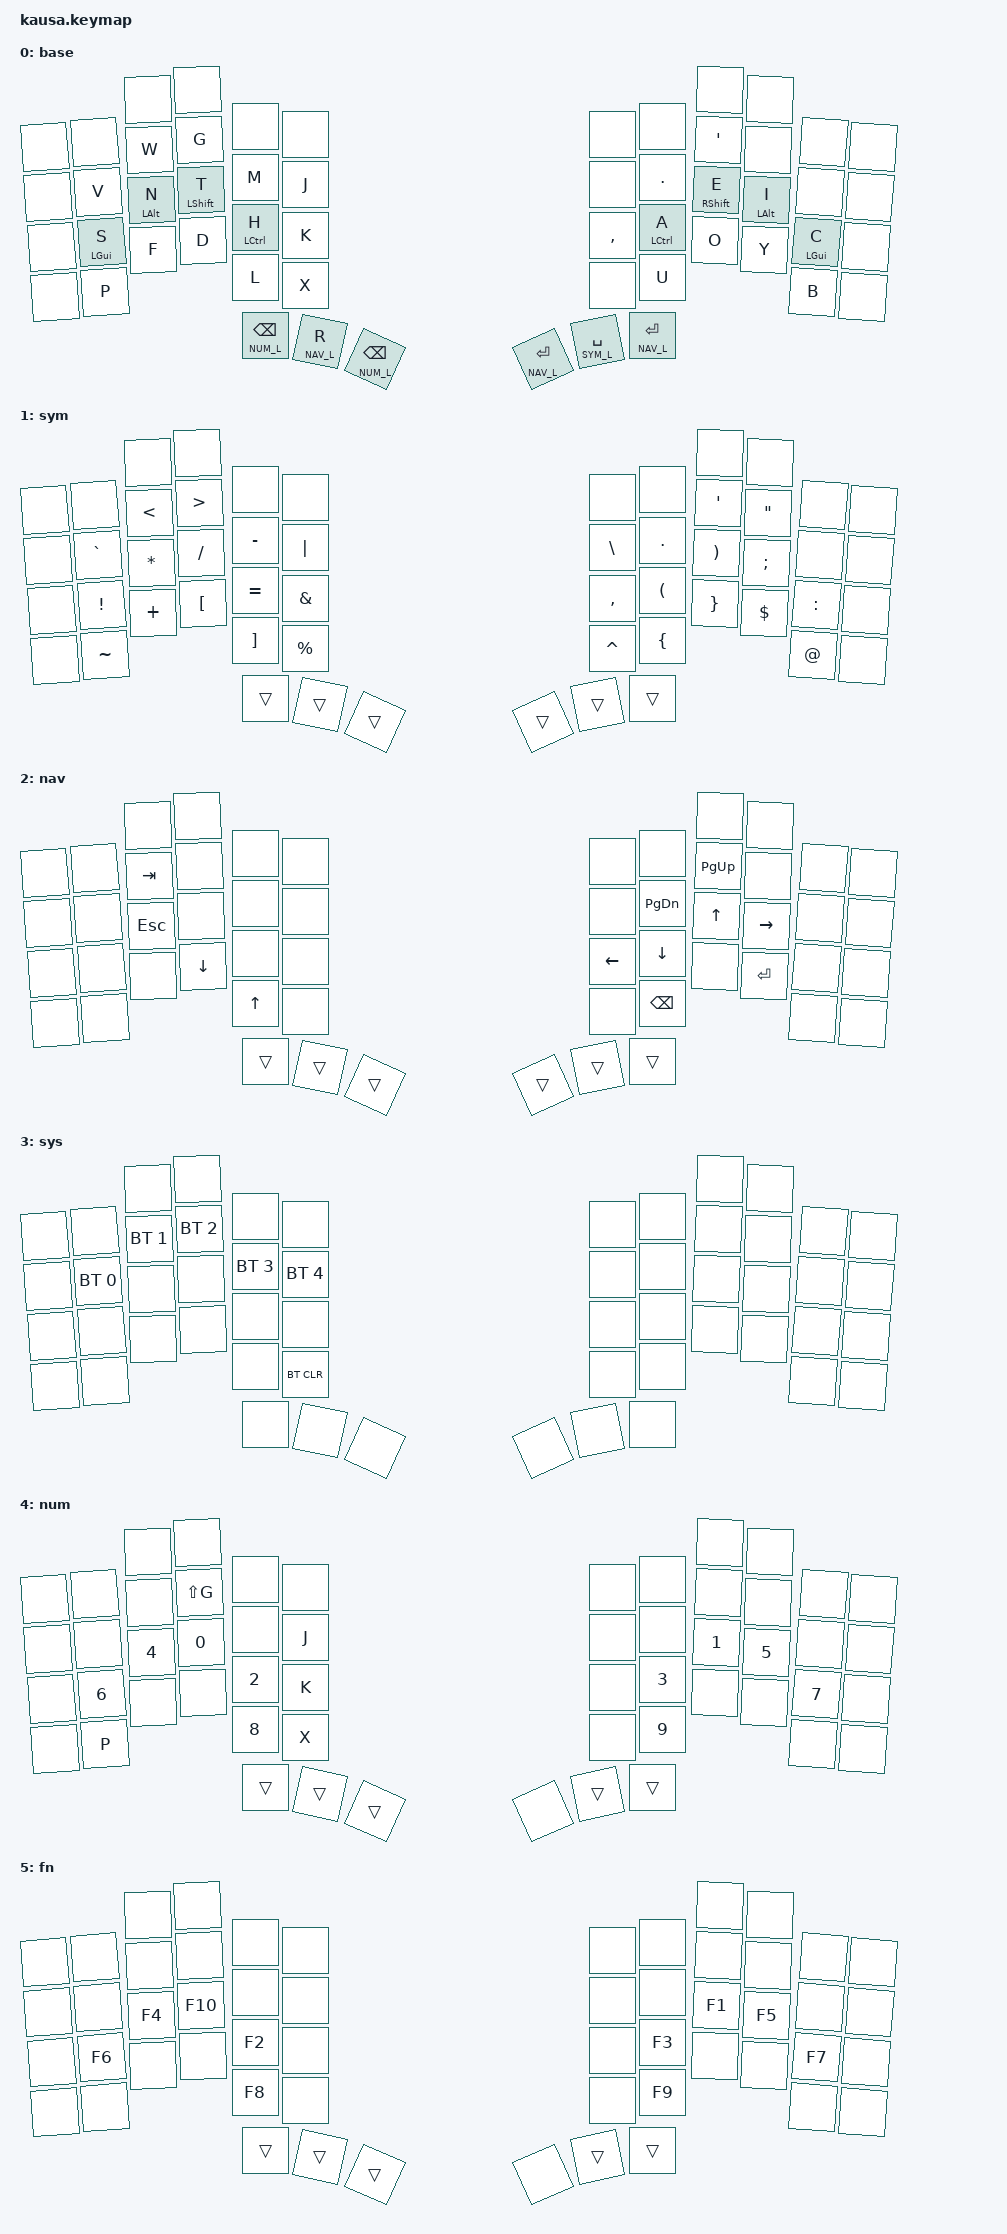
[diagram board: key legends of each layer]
#include <behaviors.dtsi>
#include <zmk-helpers/helper.h>
#include <zmk-helpers/key-labels/54.h>
#include <behaviors/num_word.dtsi>
#include <dt-bindings/zmk/keys.h>
#include <dt-bindings/zmk/bt.h>

#define BASE_L 0
#define SYM_L 1
#define NAV_L 2
#define SYS_L 3
#define NUM_L 4
#define FN_L 5

/* #define MAGIC_SHIFT &magic_shift LSHFT 0 */
/* ZMK_HOLD_TAP(magic_shift, bindings = <&kp>, <&magic_shift_tap>; */
/*              flavor = "balanced"; tapping-term-ms = <200>; */
/*              quick-tap-ms = <175>;) */
/* ZMK_MOD_MORPH(magic_shift_tap, bindings = <&shift_repeat>, <&caps_word>; */
/*               mods = <(MOD_LSFT)>;) */
/* ZMK_ADAPTIVE_KEY( */
/*     shift_repeat, bindings = <&sk LSHFT>; */
/*     repeat { */
/*       trigger-keys = <A B C D E F G H I J K L M N O P Q R S T U V W X Y Z>; */
/*       bindings = <&key_repeat>; */
/*       max-prior-idle-ms = <1200>; */
/*       strict-modifiers; */
/*     };) */

ZMK_MACRO(qu, bindings = <&macro_tap &kp Q &kp U>;)
ZMK_COMBO(combo_z, &kp Z, LT3 LT2, BASE_L)
ZMK_COMBO(combo_q, &kp Q, LT2 LT1, BASE_L)
ZMK_COMBO(combo_qu, &qu, LT3 LT1, BASE_L)
ZMK_COMBO(combo_ltab, &kp TAB, LM3 LM1, BASE_L)
ZMK_COMBO(combo_num, &num_word NUM_L, LH1 RH1, BASE_L)
ZMK_COMBO(combo_fn, &mo FN_L, LH2 RH2, BASE_L)
ZMK_COMBO(combo_middle_shift, &sk LSHFT, LM2 RM2, BASE_L)
//ZMK_COMBO(combo_lalt, &kp LALT, LM4 LM3, BASE_L)
//ZMK_COMBO(combo_lctrl, &kp LCTRL, LM3 LM2, BASE_L)
//ZMK_COMBO(combo_lgui, &kp LGUI, LM2 LM1, BASE_L)
//ZMK_COMBO(combo_ralt, &kp RALT, RM4 RM3, BASE_L)
//ZMK_COMBO(combo_rctrl, &kp RCTRL, RM3 RM2, BASE_L)
//ZMK_COMBO(combo_rgui, &kp RGUI, RM2 RM1, BASE_L)

#define SHIFT_BSPC &hpmt LSHFT BSPC
ZMK_HOLD_TAP(hpmt, flavor = "hold-preferred";
            hold-while-undecided;
            tapping-term-ms = <300>;
            quick-tap-ms = <175>;
            bindings = <&kp>, <&kp>;
	)
ZMK_HOLD_TAP(bmt, flavor = "balanced";
            hold-while-undecided;
            tapping-term-ms = <300>;
            quick-tap-ms = <250>;
            bindings = <&kp>, <&kp>;
	)

/* Left-hand HRMs. */
ZMK_HOLD_TAP(hml,
    flavor = "balanced";
    tapping-term-ms = <280>;
    quick-tap-ms = <175>;
    require-prior-idle-ms = <150>;
    bindings = <&kp>, <&kp>;
    hold-trigger-key-positions = <KEYS_R THUMBS>;
    hold-trigger-on-release;
)

/* Right-hand HRMs. */
ZMK_HOLD_TAP(hmr,
    flavor = "balanced";
    tapping-term-ms = <280>;
    quick-tap-ms = <175>;
    require-prior-idle-ms = <150>;
    bindings = <&kp>, <&kp>;
    hold-trigger-key-positions = <KEYS_L THUMBS>;
    hold-trigger-on-release;
)

#define NUM_BSPC &lt NUM_L BSPC
#define SYM_SPACE &lt SYM_L SPACE
#define NAV_RETURN &lt NAV_L RETURN

// For SHIFT, try:
// * L-R Index Combo, One shot
// * HOME thumbs Combo, One shot

ZMK_LAYER(base,
     // ╭─────────────┬─────────────┬─────────────┬─────────────┬─────────────┬─────────────╮   ╭─────────────┬─────────────┬─────────────┬─────────────┬─────────────┬─────────────╮
          &none         &none         &none         &none         &none         &none             &none         &none         &none         &none         &none         &none
     // ├─────────────┼─────────────┼─────────────┼─────────────┼─────────────┼─────────────┤   ├─────────────┼─────────────┼─────────────┼─────────────┼─────────────┼─────────────┤
          &none         &kp V         &kp W         &kp G         &kp M         &kp J             &none         &kp PERIOD    &kp SQT       &none         &none         &none
     // ├─────────────┼─────────────┼─────────────┼─────────────┼─────────────┼─────────────┤   ├─────────────┼─────────────┼─────────────┼─────────────┼─────────────┼─────────────┤
          &none         &hml LGUI S   &hml LALT N  &hml LSHFT T   &hml LCTRL H  &kp K             &kp COMMA     &hmr LCTRL A  &hmr RSHFT E  &hmr LALT I   &hmr LGUI C   &none
     // ├─────────────┼─────────────┼─────────────┼─────────────┼─────────────┼─────────────┤   ├─────────────┼─────────────┼─────────────┼─────────────┼─────────────┼─────────────┤
          &none         &kp P         &kp F         &kp D         &kp L         &kp X             &none         &kp U         &kp O         &kp Y         &kp B         &none
     // ╰─────────────┴─────────────┴─────────────┼─────────────┼─────────────┼─────────────┤   ├─────────────┼─────────────┼─────────────┼─────────────┴─────────────┴─────────────╯
                                                    NUM_BSPC      &lt NAV_L R   NUM_BSPC          NAV_RETURN    SYM_SPACE     NAV_RETURN
     //                                           ╰─────────────┴─────────────┴─────────────╯   ╰─────────────┴─────────────┴─────────────╯
)

ZMK_LAYER(sym,
     // ╭─────────────┬─────────────┬─────────────┬─────────────┬─────────────┬─────────────╮   ╭─────────────┬─────────────┬─────────────┬─────────────┬─────────────┬─────────────╮
          &none         &none         &none         &none         &none         &none             &none         &none         &none         &none         &none         &none
     // ├─────────────┼─────────────┼─────────────┼─────────────┼─────────────┼─────────────┤   ├─────────────┼─────────────┼─────────────┼─────────────┼─────────────┼─────────────┤
          &none         &kp GRAVE     &kp LT        &kp GT        &kp MINUS     &kp PIPE          &kp BSLH      &kp PERIOD    &kp SQT       &kp DQT       &none         &none
     // ├─────────────┼─────────────┼─────────────┼─────────────┼─────────────┼─────────────┤   ├─────────────┼─────────────┼─────────────┼─────────────┼─────────────┼─────────────┤
          &none         &kp EXCL      &kp STAR      &kp FSLH      &kp EQUAL     &kp AMPS          &kp COMMA     &kp LPAR      &kp RPAR      &kp SEMI      &kp COLON     &none
     // ├─────────────┼─────────────┼─────────────┼─────────────┼─────────────┼─────────────┤   ├─────────────┼─────────────┼─────────────┼─────────────┼─────────────┼─────────────┤
          &none         &kp TILDE     &kp PLUS      &kp LBKT      &kp RBKT      &kp PRCNT         &kp CARET     &kp LBRC      &kp RBRC      &kp DLLR      &kp AT        &none
     // ╰─────────────┴─────────────┴─────────────┼─────────────┼─────────────┼─────────────┤   ├─────────────┼─────────────┼─────────────┼─────────────┴─────────────┴─────────────╯
                                                    &trans        &trans        &trans            &trans        &trans        &trans
     //                                           ╰─────────────┴─────────────┴─────────────╯   ╰─────────────┴─────────────┴─────────────╯
)

ZMK_LAYER(nav,
     // ╭─────────────┬─────────────┬─────────────┬─────────────┬─────────────┬─────────────╮   ╭─────────────┬─────────────┬─────────────┬─────────────┬─────────────┬─────────────╮
          &none         &none         &none         &none         &none         &none             &none         &none         &none         &none         &none         &none
     // ├─────────────┼─────────────┼─────────────┼─────────────┼─────────────┼─────────────┤   ├─────────────┼─────────────┼─────────────┼─────────────┼─────────────┼─────────────┤
          &none         &none         &kp TAB       &none         &none         &none             &none         &kp PG_DN     &kp PG_UP     &none         &none         &none
     // ├─────────────┼─────────────┼─────────────┼─────────────┼─────────────┼─────────────┤   ├─────────────┼─────────────┼─────────────┼─────────────┼─────────────┼─────────────┤
          &none         &none         &kp ESC       &none         &none         &none             &kp LEFT      &kp DOWN      &kp UP        &kp RIGHT     &none         &none
     // ├─────────────┼─────────────┼─────────────┼─────────────┼─────────────┼─────────────┤   ├─────────────┼─────────────┼─────────────┼─────────────┼─────────────┼─────────────┤
          &none         &none         &none         &kp DOWN      &kp UP        &none             &none         &kp BSPC      &none         &kp ENTER     &none         &none
     // ╰─────────────┴─────────────┴─────────────┼─────────────┼─────────────┼─────────────┤   ├─────────────┼─────────────┼─────────────┼─────────────┴─────────────┴─────────────╯
                                                    &trans        &trans        &trans            &trans        &trans        &trans
     //                                           ╰─────────────┴─────────────┴─────────────╯   ╰─────────────┴─────────────┴─────────────╯                           
)

ZMK_LAYER(sys,
     // ╭─────────────┬─────────────┬─────────────┬─────────────┬─────────────┬─────────────╮   ╭─────────────┬─────────────┬─────────────┬─────────────┬─────────────┬─────────────╮
          &none         &none         &none         &none         &none         &none             &none         &none         &none         &none         &none         &none
     // ├─────────────┼─────────────┼─────────────┼─────────────┼─────────────┼─────────────┤   ├─────────────┼─────────────┼─────────────┼─────────────┼─────────────┼─────────────┤
          &none         &bt BT_SEL 0  &bt BT_SEL 1  &bt BT_SEL 2  &bt BT_SEL 3  &bt BT_SEL 4      &none         &none         &none         &none         &none         &none
     // ├─────────────┼─────────────┼─────────────┼─────────────┼─────────────┼─────────────┤   ├─────────────┼─────────────┼─────────────┼─────────────┼─────────────┼─────────────┤
          &none         &none         &none         &none         &none         &none             &none         &none         &none         &none         &none         &none
     // ├─────────────┼─────────────┼─────────────┼─────────────┼─────────────┼─────────────┤   ├─────────────┼─────────────┼─────────────┼─────────────┼─────────────┼─────────────┤
          &none         &none         &none         &none         &none         &bt BT_CLR        &none         &none         &none         &none         &none         &none
     // ╰─────────────┴─────────────┴─────────────┼─────────────┼─────────────┼─────────────┤   ├─────────────┼─────────────┼─────────────┼─────────────┴─────────────┴─────────────╯
                                                    &none         &none         &none             &none         &none         &none
     //                                           ╰─────────────┴─────────────┴─────────────╯   ╰─────────────┴─────────────┴─────────────╯
)

// from T34
// missing:
// + * ! , / _
ZMK_LAYER(num,
     // ╭─────────────┬─────────────┬─────────────┬─────────────┬─────────────┬─────────────╮   ╭─────────────┬─────────────┬─────────────┬─────────────┬─────────────┬─────────────╮
          &none         &none         &none         &none         &none         &none             &none         &none         &none         &none         &none         &none
     // ├─────────────┼─────────────┼─────────────┼─────────────┼─────────────┼─────────────┤   ├─────────────┼─────────────┼─────────────┼─────────────┼─────────────┼─────────────┤
          &none         &none         &none         &kp LS(G)     &none         &kp J             &none         &none         &none         &none         &none         &none
     // ├─────────────┼─────────────┼─────────────┼─────────────┼─────────────┼─────────────┤   ├─────────────┼─────────────┼─────────────┼─────────────┼─────────────┼─────────────┤
          &none         &kp N6        &kp N4        &kp N0        &kp N2        &kp K             &none         &kp N3        &kp N1        &kp N5        &kp N7        &none
     // ├─────────────┼─────────────┼─────────────┼─────────────┼─────────────┼─────────────┤   ├─────────────┼─────────────┼─────────────┼─────────────┼─────────────┼─────────────┤
          &none         &kp P         &none         &none         &kp N8        &kp X             &none         &kp N9        &none         &none         &none         &none
     // ╰─────────────┴─────────────┴─────────────┼─────────────┼─────────────┼─────────────┤   ├─────────────┼─────────────┼─────────────┼─────────────┴─────────────┴─────────────╯
                                                    &trans        &trans        &trans            &none         &trans        &trans
     //                                           ╰─────────────┴─────────────┴─────────────╯   ╰─────────────┴─────────────┴─────────────╯
)

ZMK_LAYER(fn,
     // ╭─────────────┬─────────────┬─────────────┬─────────────┬─────────────┬─────────────╮   ╭─────────────┬─────────────┬─────────────┬─────────────┬─────────────┬─────────────╮
          &none         &none         &none         &none         &none         &none             &none         &none         &none         &none         &none         &none
     // ├─────────────┼─────────────┼─────────────┼─────────────┼─────────────┼─────────────┤   ├─────────────┼─────────────┼─────────────┼─────────────┼─────────────┼─────────────┤
          &none         &none         &none         &none         &none         &none             &none         &none         &none         &none         &none         &none
     // ├─────────────┼─────────────┼─────────────┼─────────────┼─────────────┼─────────────┤   ├─────────────┼─────────────┼─────────────┼─────────────┼─────────────┼─────────────┤
          &none         &kp F6        &kp F4        &kp F10       &kp F2        &none             &none         &kp F3        &kp F1        &kp F5        &kp F7        &none
     // ├─────────────┼─────────────┼─────────────┼─────────────┼─────────────┼─────────────┤   ├─────────────┼─────────────┼─────────────┼─────────────┼─────────────┼─────────────┤
          &none         &none         &none         &none         &kp F8        &none             &none         &kp F9        &none         &none         &none         &none
     // ╰─────────────┴─────────────┴─────────────┼─────────────┼─────────────┼─────────────┤   ├─────────────┼─────────────┼─────────────┼─────────────┴─────────────┴─────────────╯
                                                    &trans        &trans        &trans            &none         &trans        &trans
     //                                           ╰─────────────┴─────────────┴─────────────╯   ╰─────────────┴─────────────┴─────────────╯
)

